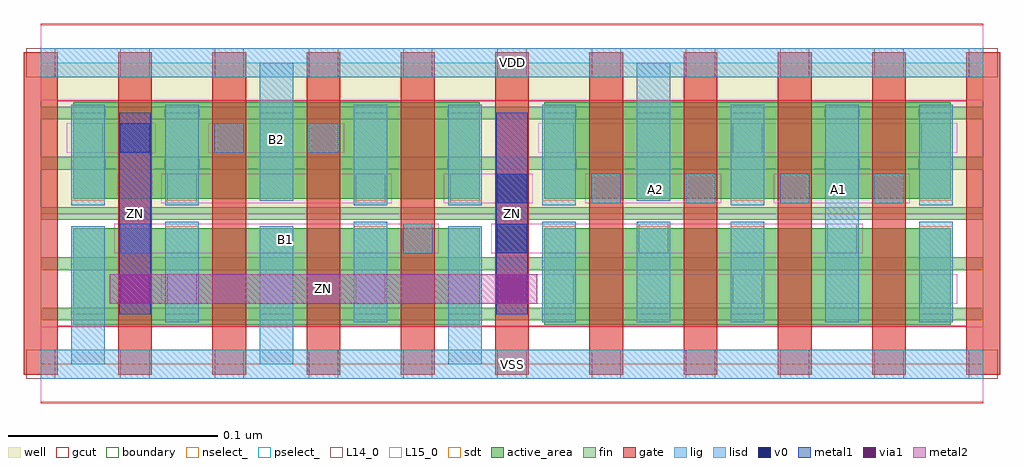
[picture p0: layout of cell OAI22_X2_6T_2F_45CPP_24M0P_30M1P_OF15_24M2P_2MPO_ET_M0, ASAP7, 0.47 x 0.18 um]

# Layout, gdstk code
import gdstk
lib = gdstk.Library(unit=1e-6, precision=2.5e-10)
def R(c, l, rs):  # rectangles x0, y0, x1, y1
    for r in rs: c.add(gdstk.rectangle(r[:2], r[2:], *l))
def A(c, l, x, y, w, h, nx, ny, dx, dy):  # array of equal rectangles
    R(c, l, [(x+i*dx, y+j*dy, x+i*dx+w, y+j*dy+h) for i in range(nx) for j in range(ny)])
well = (1, 0)
fin = (2, 0)
gate = (7, 0)
gcut = (10, 0)
active_area = (11, 0)
nselect_ = (12, 0)
pselect_ = (13, 0)
L14_0 = (14, 0)
L15_0 = (15, 0)
lig = (16, 0)
lisd = (17, 0)
v0 = (18, 0)
metal1 = (19, 0)
metal2 = (20, 0)
via1 = (21, 0)
sdt = (88, 0)
boundary = (100, 0)

oai22_x2_6t_2f_45cpp_24m = lib.new_cell('OAI22_X2_6T_2F_45CPP_24M0P_30M1P_OF15_24M2P_2MPO_ET_M0')
R(oai22_x2_6t_2f_45cpp_24m, well, [(0,0.072,0.45,0.144)])
A(oai22_x2_6t_2f_45cpp_24m, fin, 0, 0.021, 0.45, 0.006, 1, 5, 0, 0.024)
A(oai22_x2_6t_2f_45cpp_24m, gate, -0.008, -0.005, 0.016, 0.154, 11, 1, 0.045, 0)
R(oai22_x2_6t_2f_45cpp_24m, gcut, [(0,-0.0185,0.45,0.0185), (-0.008,-0.005,0.008,0.149), (0.442,-0.005,0.458,0.149), (0,0.1255,0.45,0.1625)])
A(oai22_x2_6t_2f_45cpp_24m, active_area, 0.0155, 0.019, 0.059, 0.046, 4, 2, 0.045, 0.06)
A(oai22_x2_6t_2f_45cpp_24m, active_area, 0.2405, 0.019, 0.059, 0.046, 4, 2, 0.045, 0.06)
R(oai22_x2_6t_2f_45cpp_24m, nselect_, [(0,0,0.45,0.072)])
R(oai22_x2_6t_2f_45cpp_24m, pselect_, [(0,0.072,0.45,0.144)])
A(oai22_x2_6t_2f_45cpp_24m, L14_0, -0.007, -0.007, 0.014, 0.014, 11, 2, 0.045, 0.144)
A(oai22_x2_6t_2f_45cpp_24m, L14_0, 0.0605, 0.029, 0.014, 0.014, 5, 1, 0.09, 0)
A(oai22_x2_6t_2f_45cpp_24m, L14_0, 0.263, 0.077, 0.014, 0.014, 4, 1, 0.045, 0)
A(oai22_x2_6t_2f_45cpp_24m, L14_0, 0.2405, 0.101, 0.014, 0.014, 3, 1, 0.09, 0)
R(oai22_x2_6t_2f_45cpp_24m, L14_0, [(0.038,0.053,0.052,0.067), (0.173,0.053,0.187,0.067), (0.2855,0.053,0.2995,0.067), (0.3755,0.053,0.3895,0.067), (0.0605,0.077,0.0745,0.091), (0.1505,0.077,0.1645,0.091), (0.1955,0.077,0.2095,0.091), (0.0155,0.101,0.0295,0.115), (0.083,0.101,0.097,0.115), (0.128,0.101,0.142,0.115)])
R(oai22_x2_6t_2f_45cpp_24m, L15_0, [(0,-0.018,0.45,0.018), (0.0575,0.029,0.4375,0.043), (0.035,0.053,0.19,0.067), (0.215,0.053,0.3925,0.067), (0.0575,0.077,0.1675,0.091), (0.1925,0.077,0.235,0.091), (0.26,0.077,0.325,0.091), (0.35,0.077,0.415,0.091), (0.0125,0.101,0.055,0.115), (0.08,0.101,0.145,0.115), (0.2375,0.101,0.4375,0.115), (0,0.126,0.45,0.162)])
A(oai22_x2_6t_2f_45cpp_24m, lig, 0.263, 0.077, 0.014, 0.014, 4, 1, 0.045, 0)
R(oai22_x2_6t_2f_45cpp_24m, lig, [(0,-0.007,0.45,0.007), (0.038,0.053,0.052,0.067), (0.173,0.053,0.187,0.067), (0.083,0.101,0.097,0.115), (0.128,0.101,0.142,0.115), (0,0.137,0.45,0.151)])
A(oai22_x2_6t_2f_45cpp_24m, lisd, 0.1495, 0.076, 0.016, 0.048, 3, 1, 0.045, 0)
R(oai22_x2_6t_2f_45cpp_24m, lisd, [(0.0145,0,0.0305,0.066), (0.1045,0,0.1205,0.066), (0.1045,0,0.1205,0.066), (0.1945,0,0.2105,0.066), (0.0595,0.02,0.0755,0.068), (0.0595,0.02,0.0755,0.068), (0.1495,0.02,0.1655,0.068), (0.1495,0.02,0.1655,0.068), (0.2395,0.02,0.2555,0.068), (0.2845,0.02,0.3005,0.068), (0.2845,0.02,0.3005,0.068), (0.3295,0.02,0.3455,0.068), (0.3295,0.02,0.3455,0.068), (0.3745,0.02,0.3905,0.124), (0.3745,0.02,0.3905,0.124), (0.4195,0.02,0.4355,0.068), (0.0145,0.076,0.0305,0.124), (0.0595,0.076,0.0755,0.124), (0.0595,0.076,0.0755,0.124), (0.1495,0.076,0.1655,0.124), (0.3295,0.076,0.3455,0.124), (0.3295,0.076,0.3455,0.124), (0.4195,0.076,0.4355,0.124), (0.1045,0.078,0.1205,0.144), (0.1045,0.078,0.1205,0.144), (0.2845,0.078,0.3005,0.144), (0.2845,0.078,0.3005,0.144)])
R(oai22_x2_6t_2f_45cpp_24m, v0, [(0.218,0.053,0.232,0.067), (0.218,0.077,0.232,0.091), (0.038,0.101,0.052,0.115)])
R(oai22_x2_6t_2f_45cpp_24m, metal1, [(0.0375,0.024,0.0525,0.12), (0.2175,0.024,0.2325,0.12)])
R(oai22_x2_6t_2f_45cpp_24m, metal2, [(0.033,0.029,0.237,0.043)])
R(oai22_x2_6t_2f_45cpp_24m, via1, [(0.038,0.029,0.052,0.043), (0.218,0.029,0.232,0.043)])
A(oai22_x2_6t_2f_45cpp_24m, sdt, 0.1495, 0.024, 0.016, 0.042, 4, 2, 0.045, 0.054)
R(oai22_x2_6t_2f_45cpp_24m, sdt, [(0.3745,0.02,0.3905,0.124), (0.3745,0.02,0.3905,0.124), (0.0145,0.024,0.0305,0.066), (0.0595,0.024,0.0755,0.066), (0.0595,0.024,0.0755,0.066), (0.1045,0.024,0.1205,0.066), (0.1045,0.024,0.1205,0.066), (0.1495,0.024,0.1655,0.066), (0.2845,0.024,0.3005,0.066), (0.3295,0.024,0.3455,0.066), (0.3295,0.024,0.3455,0.066), (0.4195,0.024,0.4355,0.066), (0.0145,0.078,0.0305,0.12), (0.0595,0.078,0.0755,0.12), (0.0595,0.078,0.0755,0.12), (0.1045,0.078,0.1205,0.12), (0.1045,0.078,0.1205,0.12), (0.1495,0.078,0.1655,0.12), (0.2845,0.078,0.3005,0.12), (0.3295,0.078,0.3455,0.12), (0.3295,0.078,0.3455,0.12), (0.4195,0.078,0.4355,0.12)])
R(oai22_x2_6t_2f_45cpp_24m, boundary, [(0,0,0.45,0.144)])
oai22_x2_6t_2f_45cpp_24m.add(gdstk.Label('VSS', (0.225,0), layer=15, texttype=251))
oai22_x2_6t_2f_45cpp_24m.add(gdstk.Label('VDD', (0.225,0.144), layer=15, texttype=251))
oai22_x2_6t_2f_45cpp_24m.add(gdstk.Label('B1', (0.117,0.0595), layer=15, texttype=251))
oai22_x2_6t_2f_45cpp_24m.add(gdstk.Label('B2', (0.1125,0.1075), layer=15, texttype=251))
oai22_x2_6t_2f_45cpp_24m.add(gdstk.Label('A2', (0.2935,0.0835), layer=15, texttype=251))
oai22_x2_6t_2f_45cpp_24m.add(gdstk.Label('A1', (0.381,0.0835), layer=15, texttype=251))
oai22_x2_6t_2f_45cpp_24m.add(gdstk.Label('VDD', (0.225,0.144), layer=1, texttype=251))
oai22_x2_6t_2f_45cpp_24m.add(gdstk.Label('VSS', (0.225,0), layer=3, texttype=251))
oai22_x2_6t_2f_45cpp_24m.add(gdstk.Label('ZN', (0.045,0.072), layer=19, texttype=251))
oai22_x2_6t_2f_45cpp_24m.add(gdstk.Label('ZN', (0.225,0.072), layer=19, texttype=251))
oai22_x2_6t_2f_45cpp_24m.add(gdstk.Label('ZN', (0.135,0.036), layer=20, texttype=251))

lib.write_gds('OAI22_X2_6T_2F_45CPP_24M0P_30M1P_OF15_24M2P_2MPO_ET_M0.gds')
